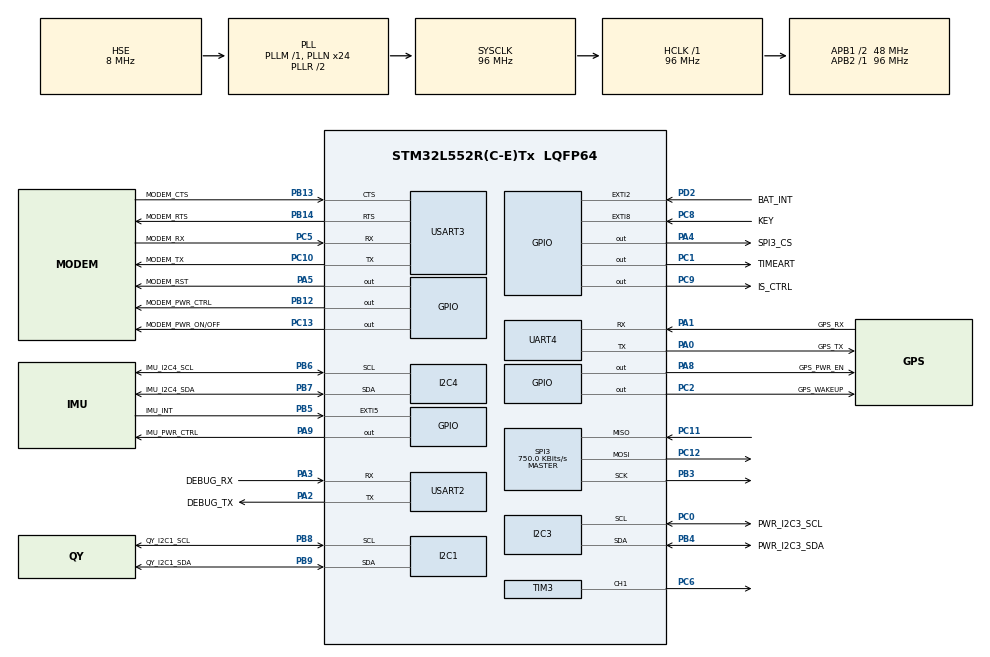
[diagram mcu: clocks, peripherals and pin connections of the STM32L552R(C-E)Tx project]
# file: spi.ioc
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I2C1.Timing=0x20303E5D
I2C3.Timing=0x20303E5D
I2C4.Timing=0x20303E5D
IWDG.Prescaler=IWDG_PRESCALER_8
IWDG.Window=2048
Mcu.Family=STM32L5
Mcu.Name=STM32L552R(C-E)Tx
Mcu.Package=LQFP64
NVIC.EXTI2_IRQn=true\:3\:1\:true\:false\:true\:true\:true
NVIC.EXTI5_IRQn=true\:3\:1\:true\:false\:true\:true\:true
NVIC.EXTI8_IRQn=true\:3\:1\:true\:false\:true\:true\:true
NVIC.PriorityGroup=NVIC_PRIORITYGROUP_2
NVIC.TIM6_IRQn=true\:1\:1\:true\:false\:true\:true\:true
NVIC.UART4_IRQn=true\:3\:0\:true\:false\:true\:true\:true
NVIC.USART2_IRQn=true\:2\:0\:true\:false\:true\:true\:true
NVIC.USART3_IRQn=true\:2\:1\:true\:false\:true\:true\:true
PA0.GPIO_Label=GPS_TX
PA0.GPIO_Speed=GPIO_SPEED_FREQ_HIGH
PA0.Mode=Asynchronous
PA0.Signal=UART4_TX
PA1.GPIO_Label=GPS_RX
PA1.GPIO_Speed=GPIO_SPEED_FREQ_HIGH
PA1.Mode=Asynchronous
PA1.Signal=UART4_RX
PA13\ (JTMS/SWDIO).Mode=Serial_Wire
PA13\ (JTMS/SWDIO).Signal=DEBUG_JTMS-SWDIO
PA14\ (JTCK/SWCLK).Mode=Serial_Wire
PA14\ (JTCK/SWCLK).Signal=DEBUG_JTCK-SWCLK
PA2.GPIO_Label=DEBUG_TX
PA2.GPIO_Speed=GPIO_SPEED_FREQ_HIGH
PA2.Mode=Asynchronous
PA2.Signal=USART2_TX
PA3.GPIO_Label=DEBUG_RX
PA3.GPIO_Speed=GPIO_SPEED_FREQ_HIGH
PA3.Mode=Asynchronous
PA3.Signal=USART2_RX
PA4.GPIO_Label=SPI3_CS
PA4.PinState=GPIO_PIN_SET
PA4.Signal=GPIO_Output
PA5.GPIO_Label=MODEM_RST
PA5.Signal=GPIO_Output
PA8.GPIO_Label=GPS_PWR_EN
PA8.Signal=GPIO_Output
PA9.GPIO_Label=IMU_PWR_CTRL
PA9.Signal=GPIO_Output
PB12.GPIO_Label=MODEM_PWR_CTRL
PB12.Signal=GPIO_Output
PB13.GPIO_Label=MODEM_CTS
PB13.GPIO_Speed=GPIO_SPEED_FREQ_HIGH
PB13.Mode=CTS_RTS
PB13.Signal=USART3_CTS
PB14.GPIO_Label=MODEM_RTS
PB14.GPIO_Speed=GPIO_SPEED_FREQ_HIGH
PB14.Mode=CTS_RTS
PB14.Signal=USART3_RTS
PB3\ (JTDO/TRACESWO).Mode=Full_Duplex_Master
PB3\ (JTDO/TRACESWO).Signal=SPI3_SCK
PB4\ (NJTRST).GPIO_Label=PWR_I2C3_SDA
PB4\ (NJTRST).Mode=I2C
PB4\ (NJTRST).Signal=I2C3_SDA
PB5.GPIO_Label=IMU_INT
PB5.GPIO_ModeDefaultEXTI=GPIO_MODE_IT_FALLING
PB5.Signal=GPXTI5
PB6.GPIO_Label=IMU_I2C4_SCL
PB6.Mode=I2C
PB6.Signal=I2C4_SCL
PB7.GPIO_Label=IMU_I2C4_SDA
PB7.Mode=I2C
PB7.Signal=I2C4_SDA
PB8.GPIO_Label=QY_I2C1_SCL
PB8.Mode=I2C
PB8.Signal=I2C1_SCL
PB9.GPIO_Label=QY_I2C1_SDA
PB9.Mode=I2C
PB9.Signal=I2C1_SDA
PC0.GPIO_Label=PWR_I2C3_SCL
PC0.Mode=I2C
PC0.Signal=I2C3_SCL
PC1.GPIO_Label=TIMEART
PC1.Signal=GPIO_Output
PC10.GPIO_Label=MODEM_TX
PC10.GPIO_Speed=GPIO_SPEED_FREQ_HIGH
PC10.Mode=Asynchronous
PC10.Signal=USART3_TX
PC11.Mode=Full_Duplex_Master
PC11.Signal=SPI3_MISO
PC12.Mode=Full_Duplex_Master
PC12.Signal=SPI3_MOSI
PC13.GPIO_Label=MODEM_PWR_ON/OFF
PC13.Signal=GPIO_Output
PC14-OSC32_IN\ (PC14).Mode=LSE-External-Oscillator
PC14-OSC32_IN\ (PC14).Signal=RCC_OSC32_IN
PC15-OSC32_OUT\ (PC15).Mode=LSE-External-Oscillator
PC15-OSC32_OUT\ (PC15).Signal=RCC_OSC32_OUT
PC2.GPIO_Label=GPS_WAKEUP
PC2.Signal=GPIO_Output
PC4.Signal=OCTOSPI1_IO7
PC5.GPIO_Label=MODEM_RX
PC5.GPIO_PuPd=GPIO_PULLUP
PC5.GPIO_Speed=GPIO_SPEED_FREQ_HIGH
PC5.Mode=Asynchronous
PC5.Signal=USART3_RX
PC6.Signal=S_TIM3_CH1
PC8.GPIO_Label=KEY
PC8.GPIO_ModeDefaultEXTI=GPIO_MODE_IT_FALLING
PC8.Signal=GPXTI8
PC9.GPIO_Label=IS_CTRL
PC9.PinState=GPIO_PIN_RESET
PC9.Signal=GPIO_Output
PD2.GPIO_Label=BAT_INT
PD2.Signal=GPXTI2
PH0-OSC_IN\ (PH0).Mode=HSE-External-Oscillator
PH0-OSC_IN\ (PH0).Signal=RCC_OSC_IN
PH1-OSC_OUT\ (PH1).Mode=HSE-External-Oscillator
PH1-OSC_OUT\ (PH1).Signal=RCC_OSC_OUT
ProjectManager.HeapSize=0x200
ProjectManager.StackSize=0x400
ProjectManager.TargetToolchain=MDK-ARM V5.27
RCC.AHBFreq_Value=96000000
RCC.APB1CLKDivider=RCC_HCLK_DIV2
RCC.APB1Freq_Value=48000000
RCC.APB1TimFreq_Value=96000000
RCC.APB2Freq_Value=96000000
RCC.APB2TimFreq_Value=96000000
RCC.CortexFreq_Value=96000000
RCC.EnbaleCSS=true
RCC.HCLKFreq_Value=96000000
RCC.HSE_VALUE=8000000
RCC.HSI48_VALUE=48000000
RCC.HSI_VALUE=16000000
RCC.MSI_VALUE=4000000
RCC.PLLN=24
RCC.PLLSourceVirtual=RCC_PLLSOURCE_HSE
RCC.SYSCLKFreq_VALUE=96000000
RCC.SYSCLKSource=RCC_SYSCLKSOURCE_PLLCLK
RCC.VCOOutputFreq_Value=192000000
SH.S_TIM3_CH1.0=TIM3_CH1,PWM Generation1 CH1
SPI3.BaudRatePrescaler=SPI_BAUDRATEPRESCALER_64
SPI3.CalculateBaudRate=750.0 KBits/s
SPI3.DataSize=SPI_DATASIZE_8BIT
SPI3.Direction=SPI_DIRECTION_2LINES
SPI3.Mode=SPI_MODE_MASTER
SPI3.VirtualType=VM_MASTER
TIM3.AutoReloadPreload=TIM_AUTORELOAD_PRELOAD_ENABLE
TIM3.Channel-PWM\ Generation1\ CH1=TIM_CHANNEL_1
TIM3.OCPolarity_1=TIM_OCPOLARITY_LOW
TIM3.Period=499
TIM3.Prescaler=95
TIM3.TIM_MasterOutputTrigger=TIM_TRGO_RESET
TIM6.AutoReloadPreload=TIM_AUTORELOAD_PRELOAD_ENABLE
TIM6.Period=20000
TIM6.Prescaler=95
USART2.VirtualMode-Asynchronous=VM_ASYNC
USART3.VirtualMode-Asynchronous=VM_ASYNC
VP_IWDG_VS_IWDG.Mode=IWDG_Activate
VP_PWR_VS_DBSignals.Mode=DisableDeadBatterySignals
VP_TIM3_VS_ClockSourceINT.Mode=Internal
VP_TIM6_VS_ClockSourceINT.Mode=Enable_Timer
board=custom

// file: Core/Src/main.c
/* USER CODE BEGIN Header */
/**
  ******************************************************************************
  * @file           : main.c
  * @brief          : Main program body
  ******************************************************************************
  * @attention
  *
  * <h2><center>&copy; Copyright (c) 2020 STMicroelectronics.
  * All rights reserved.</center></h2>
  *
  * This software component is licensed by ST under BSD 3-Clause license,
  * the "License"; You may not use this file except in compliance with the
  * License. You may obtain a copy of the License at:
  *                        opensource.org/licenses/BSD-3-Clause
  *
  ******************************************************************************
  */
/* USER CODE END Header */
#include "main.h"
#include "i2c.h"
#include "iwdg.h"
#include "spi.h"
#include "tim.h"
#include "usart.h"
#include "gpio.h"

/* USER CODE BEGIN PTD */
 SYSTEM g_Info;
/* USER CODE END PTD */

/* USER CODE BEGIN PV */
  uint16_t pwmVal=0;
  uint16_t  dir=0;
  uint8_t wData[0x100];
	uint8_t rData[0x100];
	uint32_t i;
	uint8_t ID[2];
	uint32_t tim6_cnt;
	uint8_t flag_delay200ms,flag_delay500ms,flag_delay1s,flag_delay3s;

	char uart2buf[20]="hello world!\r\n";
/* USER CODE END PV */

void SystemClock_Config(void);

int main(void)
{

  /* MCU Configuration--------------------------------------------------------*/

  /* Reset of all peripherals, Initializes the Flash interface and the Systick. */
  HAL_Init();

  /* USER CODE BEGIN Init */
  HAL_NVIC_SetPriorityGrouping(NVIC_PRIORITYGROUP_2);
  /* USER CODE END Init */

  /* Configure the system clock */
  SystemClock_Config();

  /* Initialize all configured peripherals */
  MX_GPIO_Init();
  MX_USART2_UART_Init();
  MX_USART3_UART_Init();
  MX_UART4_Init();
  MX_TIM3_Init();
  MX_I2C1_Init();
  MX_I2C3_Init();
  MX_I2C4_Init();
  MX_SPI3_Init();
  MX_TIM6_Init();
//  MX_IWDG_Init();
  /* USER CODE BEGIN 2 */

	spl0607_init();
  HAL_TIM_Base_Start_IT(&htim6);//使能定时器6
  HAL_TIM_PWM_Start(&htim3,TIM_CHANNEL_1);
	LSM6DSO_Init();
  BSP_W25Qx_Init();
  BSP_W25Qx_Read_ID(ID);
	  for(i =0;i<0x100;i ++)
  {
          wData[i] = i;
        rData[i] = 0;
  }
	BSP_W25Qx_Write(wData,0x00,0x100);
	BSP_W25Qx_Read(rData,0x00,0x100);

  /* USER CODE END 2 */

  /* Infinite loop */
  while (1)
  {

    /* USER CODE BEGIN 3 */
		at_process();
  }
  /* USER CODE END 3 */
}

void SystemClock_Config(void)
{
  RCC_OscInitTypeDef RCC_OscInitStruct = {0};
  RCC_ClkInitTypeDef RCC_ClkInitStruct = {0};

  /** Configure the main internal regulator output voltage
  */
  if (HAL_PWREx_ControlVoltageScaling(PWR_REGULATOR_VOLTAGE_SCALE0) != HAL_OK)
  {
    Error_Handler();
  }
  /** Initializes the RCC Oscillators according to the specified parameters
  * in the RCC_OscInitTypeDef structure.
  */
  RCC_OscInitStruct.OscillatorType = RCC_OSCILLATORTYPE_LSI|RCC_OSCILLATORTYPE_HSE;
  RCC_OscInitStruct.HSEState = RCC_HSE_ON;
  RCC_OscInitStruct.LSIDiv = RCC_LSI_DIV1;
  RCC_OscInitStruct.LSIState = RCC_LSI_ON;
  RCC_OscInitStruct.PLL.PLLState = RCC_PLL_ON;
  RCC_OscInitStruct.PLL.PLLSource = RCC_PLLSOURCE_HSE;
  RCC_OscInitStruct.PLL.PLLM = 1;
  RCC_OscInitStruct.PLL.PLLN = 24;
  RCC_OscInitStruct.PLL.PLLP = RCC_PLLP_DIV7;
  RCC_OscInitStruct.PLL.PLLQ = RCC_PLLQ_DIV2;
  RCC_OscInitStruct.PLL.PLLR = RCC_PLLR_DIV2;
  if (HAL_RCC_OscConfig(&RCC_OscInitStruct) != HAL_OK)
  {
    Error_Handler();
  }
  /** Initializes the CPU, AHB and APB buses clocks
  */
  RCC_ClkInitStruct.ClockType = RCC_CLOCKTYPE_HCLK|RCC_CLOCKTYPE_SYSCLK
                              |RCC_CLOCKTYPE_PCLK1|RCC_CLOCKTYPE_PCLK2;
  RCC_ClkInitStruct.SYSCLKSource = RCC_SYSCLKSOURCE_PLLCLK;
  RCC_ClkInitStruct.AHBCLKDivider = RCC_SYSCLK_DIV1;
  RCC_ClkInitStruct.APB1CLKDivider = RCC_HCLK_DIV2;
  RCC_ClkInitStruct.APB2CLKDivider = RCC_HCLK_DIV1;

  if (HAL_RCC_ClockConfig(&RCC_ClkInitStruct, FLASH_LATENCY_4) != HAL_OK)
  {
    Error_Handler();
  }
  /** Enables the Clock Security System
  */
  HAL_RCC_EnableCSS();
}

/* USER CODE BEGIN 4 */
void HAL_TIM_PeriodElapsedCallback(TIM_HandleTypeDef *htim)
{
	if(htim==(&htim6))
	{
		if(dir<500)
		{
		  	dir+=5;
				pwmVal+=5;
				__HAL_TIM_SetCompare(&htim3,TIM_CHANNEL_1,pwmVal);

		}
		else if(dir>=500&&dir<1000)
		{
			 dir+=5;
			 pwmVal-=5;
				__HAL_TIM_SetCompare(&htim3,TIM_CHANNEL_1,pwmVal);

		}
		else
		{
			dir=0;
		}
	//	user_spl0607_get();
		Loop_Sample_Aquisition();
//		HAL_IWDG_Refresh(&hiwdg);
	 tim6_cnt++;
   if(tim6_cnt%10==0) //200ms
	 {
		 flag_delay200ms=1;
	 }
	 else if(tim6_cnt%25==0) //500ms
	 {
		 flag_delay500ms=1;
	 }
	 else if(tim6_cnt%50==0) //1s
	 {
//		 HAL_UART_Transmit(&huart2, uart2buf,strlen(uart2buf),100);
		 flag_delay1s=1;
	//	 HAL_GPIO_TogglePin();
	 }
	 else if(tim6_cnt%150==0) //3s
	 {
		 flag_delay3s=1;
	 }

	}
}

void HAL_UART_RxCpltCallback(UART_HandleTypeDef *UartHandle)
{
  /* Set transmission flag: transfer complete */
	if (UartHandle->Instance == USART3)
	{
		module_recv_buffer[module_recv_write_index] = usart3_recbuf; //
		module_recv_write_index++;
		if(module_recv_write_index >= BUFFER_SIZE)       			//
		{
			module_recv_write_index = 0;
		}
		 HAL_UART_Receive_IT(&huart3, (uint8_t *)&usart3_recbuf, 1);
 	}
}

/* USER CODE END 4 */

void Error_Handler(void)
{
  __disable_irq();
  while (1)
  {
  }
}

/************************ (C) COPYRIGHT STMicroelectronics *****END OF FILE****/
